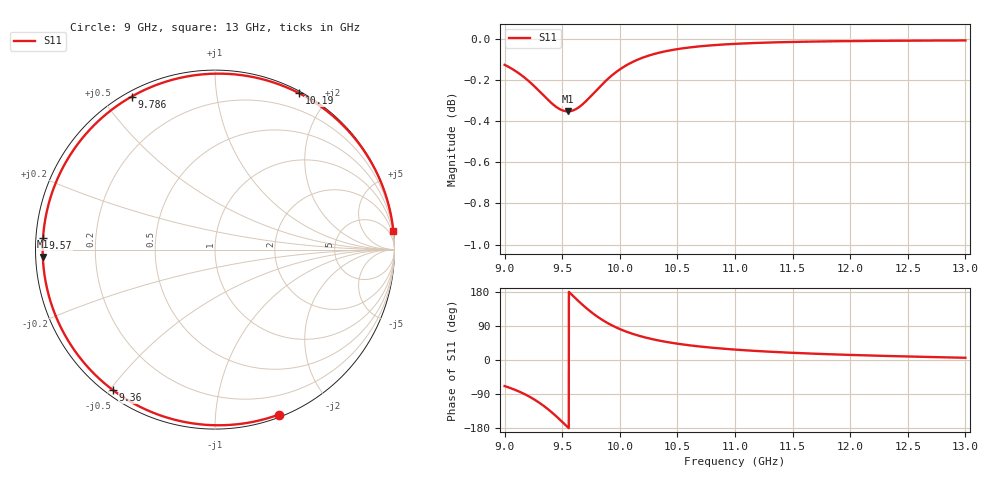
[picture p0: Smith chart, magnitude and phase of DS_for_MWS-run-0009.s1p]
! TOUCHSTONE file generated by CST DESIGN STUDIO
! Date and time: Tue Feb  4 17:46:24 2025
! Project name: C:\Work\MatlabApps\UnitCellOptimizationMatlab\CST\unitcell.cst
! Tree item: Tasks\Sweep1\SPara1\S-Parameters
! Header version: 2024
! Port assignment regex: !\s*Touchstone port\s*([0-9]+)\s*=\s*(CST MWS port|CST DES external port|CST DES block port)\s*(.+)\s* \(\"(.*)\"\)(\s*mode\s*([0-9]+))?.*
! Touchstone port assignment:
! Touchstone port 1 = CST DES external port 1 ("")
# GHz S MA R 50
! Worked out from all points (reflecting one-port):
!   4001 points, 9 GHz to 13 GHz, reference 50 ohm
!   lowest |S11| = -0.4 dB at 9.549 GHz (marker M1), VSWR 49.32, Z = 1.01 - j1.05 ohm
!   phase of S11 starts at -69 deg and turns -285 deg over the sweep
!   S11 on the Smith chart (normalised r, x): 9 GHz: 0.02, -1.46; 9.36 GHz: 0.02, -0.51; 9.57 GHz: 0.02, +0.03; 9.786 GHz: 0.02, +0.59; 10.19 GHz: 0.02, +1.67; 13 GHz: 0, +19
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9  0.9856 -68.8
9.038  0.9843 -72.7
9.103  0.9818 -80.3
9.214  0.9764 -96.5
9.291  0.9718 -110.7
9.36  0.9675 -125.8
9.428  0.9636 -143.0
9.5  0.9609 -163.2
9.549  0.9603 -177.6
9.57  0.9604 176.2
9.625  0.9617 160.0
9.685  0.9645 143.3
9.735  0.9676 130.5
9.786  0.9709 118.6
9.832  0.974 108.9
9.882  0.977 99.6
9.937  0.9801 90.6
10  0.9831 81.7
10.092  0.9866 71.0
10.192  0.9894 61.8
10.333  0.9922 51.8
10.5  0.9943 43.0
10.721  0.996 34.8
11  0.9972 27.5
11.5  0.9983 19.0
12  0.9988 13.4
12.5  0.999 9.3
13  0.9991 5.9
